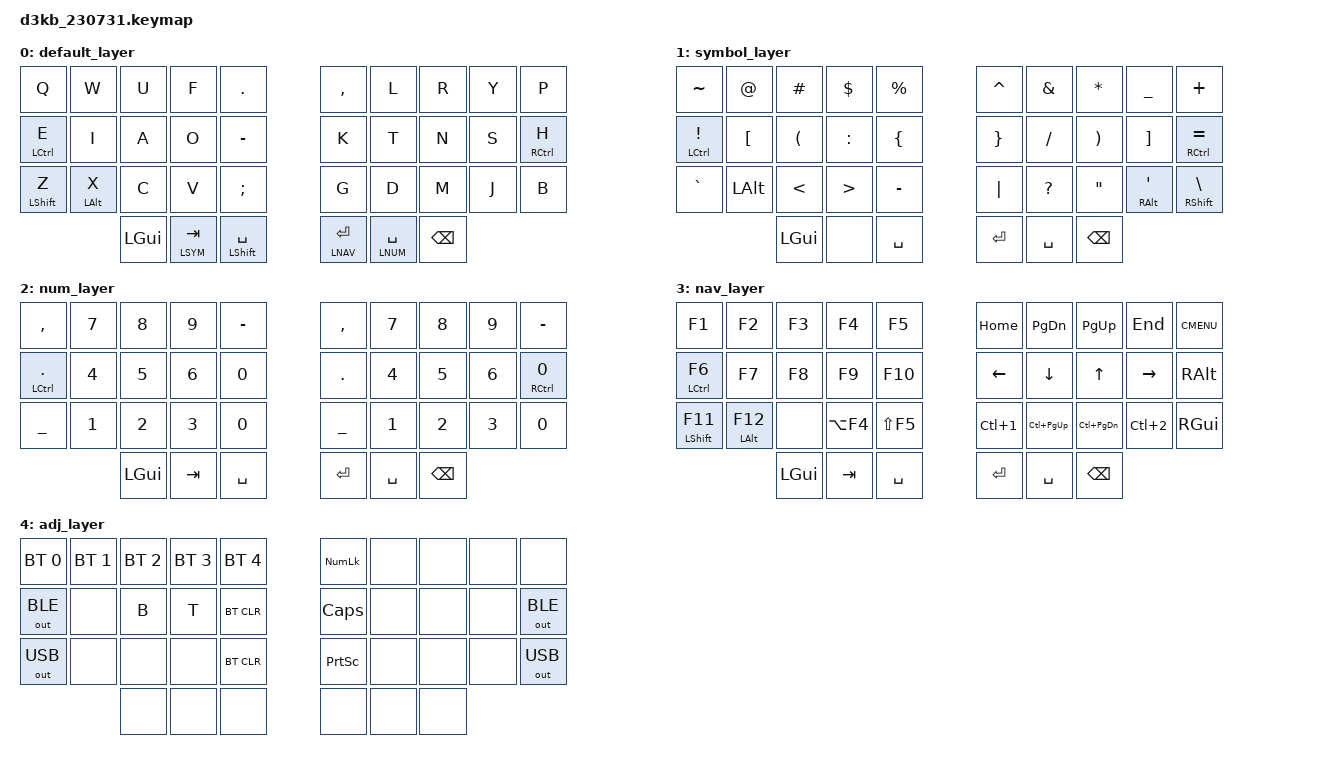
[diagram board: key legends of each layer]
#include <behaviors.dtsi>
#include <dt-bindings/zmk/keys.h>
#include <dt-bindings/zmk/bt.h>
#include <dt-bindings/zmk/outputs.h>

#define LDEF 0
#define LSYM 1
#define LNUM 2
#define LNAV 3
#define LADJ 4

&mt {
    tapping-term-ms = <175>;
    flavor = "tap-preferred";
};

&lt {
    tapping-term-ms = <175>;
    flavor = "balanced";
};


&caps_word {
    continue-list = <UNDERSCORE MINUS BACKSPACE>;
};

/ {
    combos{
        compatible = "zmk,combos";
        timeout-ms = <200>;
        combo_ll {
            key-positions = <30 31>;
            bindings = <&caps_word>;
        };
        combo_lr {
            key-positions = <31 32>;
            bindings = <&mo LNAV>;
        };
        combo_rl {
            key-positions = <33 34>;
            bindings = <&kp ESC>;
        };
        combo_rr {
            key-positions = <34 35>;
            bindings = <&kp DEL>;
        };
        combo_ladj {
            key-positions = <30 31 32>;
            bindings = <&sl LADJ>;
        };
        combo_radj {
            key-positions = <33 34 35>;
            bindings = <&sl LADJ>;
        };
        combo_esc {
            key-positions = <0 1>;
            bindings = <&kp ESC>;
        };
    };

    behaviors {

        mth: mod_tap_hold_flavor{
            compatible = "zmk,behavior-hold-tap";
            label = "LEFT_POSITIONAL_HOLD_TAP";
            #binding-cells = <2>;
            flavor = "balanced";
            tapping-term-ms = <175>;
            bindings = <&kp>, <&kp>;
            retro-tap;
        }; 
    };

    keymap {
        compatible = "zmk,keymap";

        default_layer {
            bindings = <
                &kp Q       &kp W       &kp U    &kp F         &kp DOT                 &kp COMMA    &kp L          &kp R     &kp Y      &kp P 
                &mt LCTRL E &kp I       &kp A    &kp O         &kp MINUS               &kp K        &kp T          &kp N     &kp S      &mt RCTRL H 
                &mt LSHFT Z &mt LALT X  &kp C    &kp V         &kp SEMI                &kp G        &kp D          &kp M     &kp J      &kp B
                                        &kp LGUI &lt LSYM TAB  &mt LSHFT SPACE         &lt LNAV RET &lt LNUM SPACE &kp BSPC 
            >;
        };

        symbol_layer {
            bindings = <
                &kp TILDE       &kp AT        &kp HASH &kp DLLR  &kp PRCNT        &kp CARET &kp AMPS       &kp ASTRK &kp UNDER    &kp PLUS 
                &mt LCTRL EXCL  &kp LBKT      &kp LPAR &kp COLON &kp LBRC         &kp RBRC  &kp SLASH      &kp RPAR  &kp RBKT     &mt RCTRL EQUAL 
                &kp GRAVE       &kp LALT      &kp LT   &kp GT    &kp MINUS        &kp PIPE  &kp QMARK      &kp DQT   &mt RALT SQT &mt RSHFT BSLH 
                                              &kp LGUI &none     &kp SPACE        &kp RET   &kp SPACE      &kp BSPC 
            >;
        };

        num_layer {
            bindings = <
                &kp COMMA     &kp N7   &kp N8    &kp N9     &kp MINUS    &kp COMMA  &kp N7    &kp N8   &kp N9  &kp MINUS 
                &mt LCTRL DOT &kp N4   &kp N5    &kp N6     &kp N0       &kp DOT    &kp N4    &kp N5   &kp N6  &mth RCTRL N0 
                &kp UNDER     &kp N1   &kp N2    &kp N3     &kp N0       &kp UNDER  &kp N1    &kp N2   &kp N3  &kp N0 
                                       &kp LGUI  &kp TAB    &kp SPACE    &kp RET    &kp SPACE &kp BSPC 
            >;
        };

        nav_layer {
            bindings = <
                &kp F1        &kp F2       &kp F3   &kp F4        &kp F5          &kp HOME    &kp PG_DN     &kp PG_UP     &kp END    &kp K_CMENU
                &mt LCTRL F6  &kp F7       &kp F8   &kp F9        &kp F10         &kp LEFT    &kp DOWN      &kp UP        &kp RIGHT  &kp RALT
                &mt LSHFT F11 &mt LALT F12 &none    &kp LA(F4)    &kp LS(F5)      &kp LC(N1)  &kp LC(PG_UP) &kp LC(PG_DN) &kp LC(N2) &kp RGUI
                                           &kp LGUI &kp TAB       &kp SPACE       &kp RET     &kp SPACE     &kp BSPC 
            >;
        };

        adj_layer {
            bindings = <
                &bt  BT_SEL 0    &bt BT_SEL 1 &bt BT_SEL 2 &bt BT_SEL 3 &bt BT_SEL 4         &kp KP_NUM  &none     &none     &none    &none
                &out OUT_BLE     &none        &kp B        &kp T        &bt BT_CLR           &kp CAPS    &none     &none     &none    &out OUT_BLE
                &out OUT_USB     &none        &none        &none        &bt BT_CLR           &kp PSCRN   &none     &none     &none    &out OUT_USB
                                              &none        &none        &none                &none       &none     &none
            >;
        };
        
    };
};


//        num_layer {
//            bindings = <
//                &kp F1        &kp F2       &kp F3   &kp F4        &kp F5                &kp COMMA  &kp N7 &kp N8 &kp N9      &kp MINUS 
//                &mt LCTRL F6  &kp F7       &kp F8   &kp F9        &kp F10               &kp DOT    &kp N4 &kp N5 &kp N6      &mth RCTRL N0 
//                &mt LSHFT F11 &mt LALT F12 &none    &kp LA(F4)    &kp LS(F5)            &kp UNDER  &kp N1 &kp N2 &kp N3      &kp N0 
//                                           &kp LGUI &kp TAB       &kp SPACE             &kp RET    &kp SPACE &kp BSPC 
//            >;
//        };
//
//        nav_layer {
//            bindings = <
//                &kp LC(LA(X)) &kp LC(N1) &kp LC(N2) &kp LC(N3) &kp LC(N4)    &kp HOME    &kp PG_DN     &kp PG_UP     &kp END    &kp K_CMENU
//                &kp LCTRL     &kp LG(N1) &kp LG(N2) &kp LG(N3) &kp LG(N4)    &kp LEFT    &kp DOWN      &kp UP        &kp RIGHT  &kp RALT
//                &kp LSHFT     &kp LALT   &none      &none      &none         &kp LC(N1)  &kp LC(PG_UP) &kp LC(PG_DN) &kp LC(N2) &kp RGUI
//                                         &kp LGUI   &kp TAB    &kp SPACE     &kp RET     &kp SPACE     &kp BSPC 
//            >;
//        };
//
//        td_count: tap_dance_counter {
//            compatible = "zmk,behavior-tap-dance";
//            label = "TAP_DANCE_COUNTER";
//            #binding-cells = <0>;
//            tapping-term-ms = <225>;
//            bindings = <&kp N0>, <&kp N1>, <&kp N2>, <&kp N3>, <&kp N4>, <&kp N5>, <&kp N6>, <&kp N7>, <&kp N8>, <&kp N9>;
//        };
